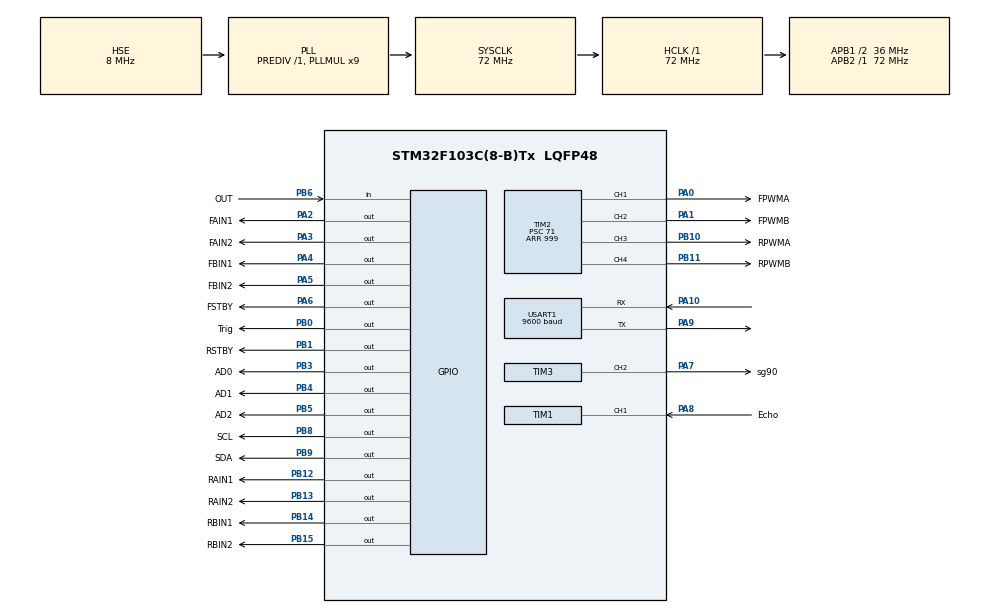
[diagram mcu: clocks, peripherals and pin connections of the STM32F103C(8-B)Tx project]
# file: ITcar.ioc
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Mcu.Family=STM32F1
Mcu.Name=STM32F103C(8-B)Tx
Mcu.Package=LQFP48
NVIC.PriorityGroup=NVIC_PRIORITYGROUP_4
NVIC.TIM1_CC_IRQn=true\:0\:0\:false\:false\:true\:true\:true\:true
NVIC.USART1_IRQn=true\:0\:0\:false\:false\:true\:true\:true\:true
PA0-WKUP.GPIO_Label=FPWMA
PA0-WKUP.Signal=S_TIM2_CH1_ETR
PA1.GPIO_Label=FPWMB
PA1.Signal=S_TIM2_CH2
PA10.Mode=Asynchronous
PA10.Signal=USART1_RX
PA13.Mode=Serial_Wire
PA13.Signal=SYS_JTMS-SWDIO
PA14.Mode=Serial_Wire
PA14.Signal=SYS_JTCK-SWCLK
PA2.GPIO_Label=FAIN1
PA2.GPIO_PuPd=GPIO_PULLUP
PA2.Signal=GPIO_Output
PA3.GPIO_Label=FAIN2
PA3.GPIO_PuPd=GPIO_PULLUP
PA3.Signal=GPIO_Output
PA4.GPIO_Label=FBIN1
PA4.GPIO_PuPd=GPIO_PULLUP
PA4.Signal=GPIO_Output
PA5.GPIO_Label=FBIN2
PA5.GPIO_PuPd=GPIO_PULLUP
PA5.Signal=GPIO_Output
PA6.GPIO_Label=FSTBY
PA6.PinState=GPIO_PIN_SET
PA6.Signal=GPIO_Output
PA7.GPIO_Label=sg90
PA7.Signal=S_TIM3_CH2
PA8.GPIO_Label=Echo
PA8.Signal=S_TIM1_CH1
PA9.Mode=Asynchronous
PA9.Signal=USART1_TX
PB0.GPIO_Label=Trig
PB0.Signal=GPIO_Output
PB1.GPIO_Label=RSTBY
PB1.PinState=GPIO_PIN_SET
PB1.Signal=GPIO_Output
PB10.GPIO_Label=RPWMA
PB10.Signal=S_TIM2_CH3
PB11.GPIO_Label=RPWMB
PB11.Signal=S_TIM2_CH4
PB12.GPIO_Label=RAIN1
PB12.GPIO_PuPd=GPIO_PULLUP
PB12.Signal=GPIO_Output
PB13.GPIO_Label=RAIN2
PB13.GPIO_PuPd=GPIO_PULLUP
PB13.Signal=GPIO_Output
PB14.GPIO_Label=RBIN1
PB14.GPIO_PuPd=GPIO_PULLUP
PB14.Signal=GPIO_Output
PB15.GPIO_Label=RBIN2
PB15.GPIO_PuPd=GPIO_PULLUP
PB15.Signal=GPIO_Output
PB3.GPIO_Label=AD0
PB3.GPIO_PuPd=GPIO_NOPULL
PB3.Signal=GPIO_Output
PB4.GPIO_Label=AD1
PB4.Signal=GPIO_Output
PB5.GPIO_Label=AD2
PB5.Signal=GPIO_Output
PB6.GPIO_Label=OUT
PB6.GPIO_PuPd=GPIO_PULLUP
PB6.Signal=GPIO_Input
PB8.GPIO_Label=SCL
PB8.GPIO_ModeDefaultOutputPP=GPIO_MODE_OUTPUT_OD
PB8.GPIO_PuPd=GPIO_PULLUP
PB8.GPIO_Speed=GPIO_SPEED_FREQ_HIGH
PB8.PinState=GPIO_PIN_SET
PB8.Signal=GPIO_Output
PB9.GPIO_Label=SDA
PB9.GPIO_ModeDefaultOutputPP=GPIO_MODE_OUTPUT_OD
PB9.GPIO_PuPd=GPIO_PULLUP
PB9.GPIO_Speed=GPIO_SPEED_FREQ_HIGH
PB9.PinState=GPIO_PIN_SET
PB9.Signal=GPIO_Output
PC14-OSC32_IN.Mode=LSE-External-Oscillator
PC14-OSC32_IN.Signal=RCC_OSC32_IN
PC15-OSC32_OUT.Mode=LSE-External-Oscillator
PC15-OSC32_OUT.Signal=RCC_OSC32_OUT
PD0-OSC_IN.Mode=HSE-External-Oscillator
PD0-OSC_IN.Signal=RCC_OSC_IN
PD1-OSC_OUT.Mode=HSE-External-Oscillator
PD1-OSC_OUT.Signal=RCC_OSC_OUT
ProjectManager.HeapSize=0x200
ProjectManager.StackSize=0x400
ProjectManager.TargetToolchain=MDK-ARM V5
RCC.AHBFreq_Value=72000000
RCC.APB1CLKDivider=RCC_HCLK_DIV2
RCC.APB1Freq_Value=36000000
RCC.APB1TimFreq_Value=72000000
RCC.APB2Freq_Value=72000000
RCC.APB2TimFreq_Value=72000000
RCC.HCLKFreq_Value=72000000
RCC.PLLMUL=RCC_PLL_MUL9
RCC.PLLSourceVirtual=RCC_PLLSOURCE_HSE
RCC.SYSCLKFreq_VALUE=72000000
RCC.SYSCLKSource=RCC_SYSCLKSOURCE_PLLCLK
RCC.USBFreq_Value=72000000
SH.S_TIM1_CH1.0=TIM1_CH1,Input_Capture1_from_TI1
SH.S_TIM2_CH1_ETR.0=TIM2_CH1,PWM Generation1 CH1
SH.S_TIM2_CH2.0=TIM2_CH2,PWM Generation2 CH2
SH.S_TIM2_CH3.0=TIM2_CH3,PWM Generation3 CH3
SH.S_TIM2_CH4.0=TIM2_CH4,PWM Generation4 CH4
SH.S_TIM3_CH2.0=TIM3_CH2,PWM Generation2 CH2
TIM1.Channel-Input_Capture1_from_TI1=TIM_CHANNEL_1
TIM1.Prescaler=71
TIM2.Channel-PWM\ Generation1\ CH1=TIM_CHANNEL_1
TIM2.Channel-PWM\ Generation2\ CH2=TIM_CHANNEL_2
TIM2.Channel-PWM\ Generation3\ CH3=TIM_CHANNEL_3
TIM2.Channel-PWM\ Generation4\ CH4=TIM_CHANNEL_4
TIM2.Period=999
TIM2.Prescaler=71
TIM3.Channel-PWM\ Generation2\ CH2=TIM_CHANNEL_2
TIM3.Period=1999
TIM3.Prescaler=719
USART1.BaudRate=9600
USART1.VirtualMode=VM_ASYNC
VP_TIM1_VS_ClockSourceINT.Mode=Internal
VP_TIM3_VS_ClockSourceINT.Mode=Internal
board=custom

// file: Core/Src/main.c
/* USER CODE BEGIN Header */
/**
  ******************************************************************************
  * @file           : main.c
  * @brief          : Main program body
  ******************************************************************************
  * @attention
  *
  * Copyright (c) 2026 STMicroelectronics.
  * All rights reserved.
  *
  * This software is licensed under terms that can be found in the LICENSE file
  * in the root directory of this software component.
  * If no LICENSE file comes with this software, it is provided AS-IS.
  *
  ******************************************************************************
  */
/* USER CODE END Header */
#include "main.h"
#include "tim.h"
#include "usart.h"
#include "gpio.h"

/* USER CODE BEGIN Includes */
#include "motor.h"
#include "bluetooth.h"
#include "mpu6050.h"
#include "hc_sr04.h"
#include "oled.h"
#include "track.h"
#include "mode_remote.h"
#include "mode_obstacle.h"
#include <stdio.h>
/* USER CODE END Includes */

void SystemClock_Config(void);

int main(void)
{

  /* MCU Configuration--------------------------------------------------------*/

  /* Reset of all peripherals, Initializes the Flash interface and the Systick. */
  HAL_Init();

  /* Configure the system clock */
  SystemClock_Config();

  /* Initialize all configured peripherals */
  MX_GPIO_Init();
  MX_TIM2_Init();
  MX_TIM3_Init();
  MX_USART1_UART_Init();
  MX_TIM1_Init();
  /* USER CODE BEGIN 2 */

  Motor_Init();      // 初始化前后 TB6612 电机驱动及 TIM2 四路 PWM
  Track_Init();      // 初始化八路灰度循迹地址引脚
  Bluetooth_Init();  // 开启 USART1 蓝牙单字节接收中断

  HAL_TIM_PWM_Start(&htim3, TIM_CHANNEL_2);   // 启动 SG90 云台舵机 PWM (PA7, 50Hz)
  HAL_TIM_IC_Start_IT(&htim1, TIM_CHANNEL_1); // 启动 HC-SR04 Echo 输入捕获中断 (PA8)

  uint32_t oled_tick = 0;      // OLED 刷新分频计数 (20 * 10ms = 200ms)
  uint32_t sr04_tick = 0;      // 超声波后台刷新分频计数 (10 * 10ms = 100ms)
  uint8_t mpu_status = 1;
  float distance = -1.0f;
  char oled_buf[20];

  HAL_Delay(1000);             // 上电静置等待，确保 MPU6050 零偏校准时车身稳定

  OLED_Init();
  mpu_status = MPU6050_Init();
  __HAL_TIM_SET_COMPARE(&htim3, TIM_CHANNEL_2, 150); // 云台舵机回正 (1.5ms)

  /* USER CODE END 2 */

  /* Infinite loop */
  /* USER CODE BEGIN WHILE */
  while (1)
  {
    /* 0. MPU6050 偏航角实时积分更新 */
    if (mpu_status == 0)
    {
      MPU6050_Update_Angle();
    }

    /* 1. 核心模式状态机 */
    switch (Car_Mode)
    {
      case CAR_MODE_STANDBY:  // 0: 待机模式
        Motor_Stop();
        __HAL_TIM_SET_COMPARE(&htim3, TIM_CHANNEL_2, 150);
        break;

      case CAR_MODE_REMOTE:   // 1: 蓝牙遥控模式
        Mode_Remote_Process(Bluetooth_Cmd);
        break;

      case CAR_MODE_OBSTACLE: // 2: 超声波 + 陀螺仪闭环避障模式
        Mode_Obstacle_Process();
        break;

      case CAR_MODE_TRACK:    // 3: 八路灰度 PD 自主循迹模式
        Mode_Track_Process();
        break;

      default:
        Motor_Stop();
        break;
    }

    /* 2. 非阻塞后台超声波测距（非避障模式下每 100ms 触发一次，不阻塞循迹控制周期） */
    sr04_tick++;
    if (sr04_tick >= 10)
    {
      sr04_tick = 0;
      if (Car_Mode != CAR_MODE_OBSTACLE)
      {
        HCSR04_UpdateAsync();
      }
      distance = HCSR04_GetLastDistance();
    }

    /* 3. OLED 状态面板刷新（每 200ms 刷新一次） */
    oled_tick++;
    if (oled_tick >= 20)
    {
      oled_tick = 0;
      distance = HCSR04_GetLastDistance();

      // 非循迹模式下主动采样一次八路灰度，便于调试观察 X1~X8 实时状态
      if (Car_Mode != CAR_MODE_TRACK)
      {
        Track_ReadSensors(Track_Show);
      }

      /*
       * Track_Action (A:x) 状态码说明：
       *   0 = 初始化 / 待机
       *   1 = PD 闭环循迹
       *   2 = 左直角弯锁定转向
       *   3 = 右直角弯锁定转向
       *   4 = 脱离黑线保护停车
       */
      // 第 1 行：循迹动作 A + 当前模式 M + X1/X2
      OLED_ShowString(0, 0, "A:", 16);
      OLED_ShowNum(16, 0, Track_Action, 1, 16);
      OLED_ShowString(32, 0, "M:", 16);
      OLED_ShowNum(48, 0, Car_Mode, 1, 16);
      OLED_ShowString(80, 0, "X12", 16);
      OLED_ShowNum(112, 0, Track_Show[0], 1, 16);
      OLED_ShowNum(120, 0, Track_Show[1], 1, 16);

      // 第 2 行：工作模式名称 + X3/X4
      if (Car_Mode == CAR_MODE_STANDBY)
      {
        OLED_ShowString(0, 2, "Standby     ", 16);
      }
      else if (Car_Mode == CAR_MODE_REMOTE)
      {
        OLED_ShowString(0, 2, "Remote      ", 16);
      }
      else if (Car_Mode == CAR_MODE_OBSTACLE)
      {
        OLED_ShowString(0, 2, "Obstacle    ", 16);
      }
      else if (Car_Mode == CAR_MODE_TRACK)
      {
        OLED_ShowString(0, 2, "Tracking    ", 16);
      }
      else
      {
        OLED_ShowString(0, 2, "Unknown     ", 16);
      }
      OLED_ShowString(80, 2, "X34", 16);
      OLED_ShowNum(112, 2, Track_Show[2], 1, 16);
      OLED_ShowNum(120, 2, Track_Show[3], 1, 16);

      // 第 3 行：偏航角 Yaw + X5/X6
      if (mpu_status == 0)
      {
        snprintf(oled_buf, sizeof(oled_buf), "Y:%5.1f   ", Yaw_Angle);
        OLED_ShowString(0, 4, oled_buf, 16);
      }
      else
      {
        OLED_ShowString(0, 4, "Y:MPU_ERR  ", 16);
      }
      OLED_ShowString(80, 4, "X56", 16);
      OLED_ShowNum(112, 4, Track_Show[4], 1, 16);
      OLED_ShowNum(120, 4, Track_Show[5], 1, 16);

      // 第 4 行：超声波距离 D + X7/X8
      if (distance < 0.0f)
      {
        OLED_ShowString(0, 6, "D:ERR      ", 16);
      }
      else
      {
        snprintf(oled_buf, sizeof(oled_buf), "D:%5.1fcm ", distance);
        OLED_ShowString(0, 6, oled_buf, 16);
      }
      OLED_ShowString(80, 6, "X78", 16);
      OLED_ShowNum(112, 6, Track_Show[6], 1, 16);
      OLED_ShowNum(120, 6, Track_Show[7], 1, 16);
    }

    HAL_Delay(10); // 主循环 10ms 基准节拍
    /* USER CODE END WHILE */

  }
}

void SystemClock_Config(void)
{
  RCC_OscInitTypeDef RCC_OscInitStruct = {0};
  RCC_ClkInitTypeDef RCC_ClkInitStruct = {0};

  /** Initializes the RCC Oscillators according to the specified parameters
  * in the RCC_OscInitTypeDef structure.
  */
  RCC_OscInitStruct.OscillatorType = RCC_OSCILLATORTYPE_HSE;
  RCC_OscInitStruct.HSEState = RCC_HSE_ON;
  RCC_OscInitStruct.HSEPredivValue = RCC_HSE_PREDIV_DIV1;
  RCC_OscInitStruct.HSIState = RCC_HSI_ON;
  RCC_OscInitStruct.PLL.PLLState = RCC_PLL_ON;
  RCC_OscInitStruct.PLL.PLLSource = RCC_PLLSOURCE_HSE;
  RCC_OscInitStruct.PLL.PLLMUL = RCC_PLL_MUL9;
  if (HAL_RCC_OscConfig(&RCC_OscInitStruct) != HAL_OK)
  {
    Error_Handler();
  }

  /** Initializes the CPU, AHB and APB buses clocks
  */
  RCC_ClkInitStruct.ClockType = RCC_CLOCKTYPE_HCLK|RCC_CLOCKTYPE_SYSCLK
                              |RCC_CLOCKTYPE_PCLK1|RCC_CLOCKTYPE_PCLK2;
  RCC_ClkInitStruct.SYSCLKSource = RCC_SYSCLKSOURCE_PLLCLK;
  RCC_ClkInitStruct.AHBCLKDivider = RCC_SYSCLK_DIV1;
  RCC_ClkInitStruct.APB1CLKDivider = RCC_HCLK_DIV2;
  RCC_ClkInitStruct.APB2CLKDivider = RCC_HCLK_DIV1;

  if (HAL_RCC_ClockConfig(&RCC_ClkInitStruct, FLASH_LATENCY_2) != HAL_OK)
  {
    Error_Handler();
  }
}

void Error_Handler(void)
{
  __disable_irq();
  while (1)
  {
  }
}
